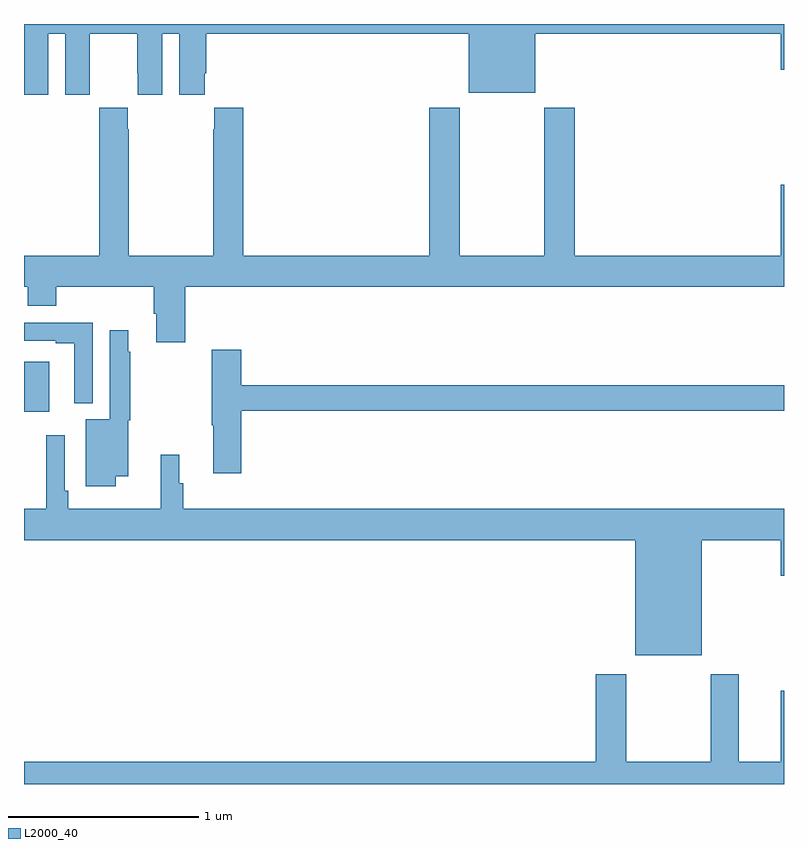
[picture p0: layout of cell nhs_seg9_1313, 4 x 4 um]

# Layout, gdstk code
import gdstk
lib = gdstk.Library(unit=1e-6, precision=1e-09)
def R(c, l, rs):  # rectangles x0, y0, x1, y1
    for r in rs: c.add(gdstk.rectangle(r[:2], r[2:], *l))
def P(c, l, *ps):  # polygons
    for p in ps: c.add(gdstk.Polygon(p, *l))
L2000_40 = (2000, 40)

nhs_seg9_1313 = lib.new_cell('nhs_seg9_1313')
R(nhs_seg9_1313, L2000_40, [(185,1166.459,185.134,1166.722)])
P(nhs_seg9_1313, L2000_40, [(185,1168.128),(185.128,1168.128),(185.128,1168.448),(185.216,1168.448),(185.216,1168.128),(185.346,1168.128),(185.346,1168.24),(185.347,1168.24),(185.347,1168.448),(185.597,1168.448),(185.597,1168.24),(185.598,1168.24),(185.598,1168.128),(185.728,1168.128),(185.728,1168.448),(185.816,1168.448),(185.816,1168.128),(185.95,1168.128),(185.95,1168.24),(185.96,1168.24),(185.96,1168.448),(187.34,1168.448),(187.34,1168.139),(187.69,1168.139),(187.69,1168.448),(188.984,1168.448),(188.984,1168.26),(189,1168.26),(189,1168.5),(185,1168.5)],
  [(185.849,1167.116),(189,1167.116),(189,1167.655),(188.984,1167.655),(188.984,1167.28),(187.898,1167.28),(187.898,1168.06),(187.738,1168.06),(187.738,1167.28),(187.293,1167.28),(187.293,1168.06),(187.133,1168.06),(187.133,1167.28),(186.155,1167.28),(186.155,1168.06),(186.001,1168.06),(186.001,1167.947),(185.995,1167.947),(185.995,1167.28),(185.55,1167.28),(185.55,1167.947),(185.547,1167.947),(185.547,1168.06),(185.397,1168.06),(185.397,1167.947),(185.395,1167.947),(185.395,1167.28),(185,1167.28),(185,1167.116),(185.019,1167.116),(185.019,1167.018),(185.171,1167.018),(185.171,1167.116),(185.684,1167.116),(185.684,1166.974),(185.696,1166.974),(185.696,1166.826),(185.849,1166.826)],
  [(185.361,1166.928),(185,1166.928),(185,1166.832),(185.168,1166.832),(185.168,1166.82),(185.264,1166.82),(185.264,1166.504),(185.361,1166.504)],
  [(185.482,1166.12),(185.548,1166.12),(185.548,1166.415),(185.56,1166.415),(185.56,1166.774),(185.548,1166.774),(185.548,1166.887),(185.451,1166.887),(185.451,1166.419),(185.324,1166.419),(185.324,1166.067),(185.482,1166.067)],
  [(186.143,1166.464),(189,1166.464),(189,1166.6),(186.143,1166.6),(186.143,1166.785),(185.989,1166.785),(185.989,1166.387),(185.996,1166.387),(185.996,1166.136),(186.143,1166.136)],
  [(188.566,1165.784),(188.984,1165.784),(188.984,1165.596),(189,1165.596),(189,1165.948),(185.837,1165.948),(185.837,1166.082),(185.818,1166.082),(185.818,1166.233),(185.719,1166.233),(185.719,1165.948),(185.234,1165.948),(185.234,1166.044),(185.214,1166.044),(185.214,1166.335),(185.117,1166.335),(185.117,1165.948),(185,1165.948),(185,1165.784),(188.216,1165.784),(188.216,1165.178),(188.566,1165.178)],
  [(189,1164.991),(188.984,1164.991),(188.984,1164.616),(188.761,1164.616),(188.761,1165.078),(188.614,1165.078),(188.614,1164.616),(188.169,1164.616),(188.169,1165.078),(188.009,1165.078),(188.009,1164.616),(185,1164.616),(185,1164.5),(189,1164.5)])

lib.write_gds('nhs_seg9_1313.gds')
